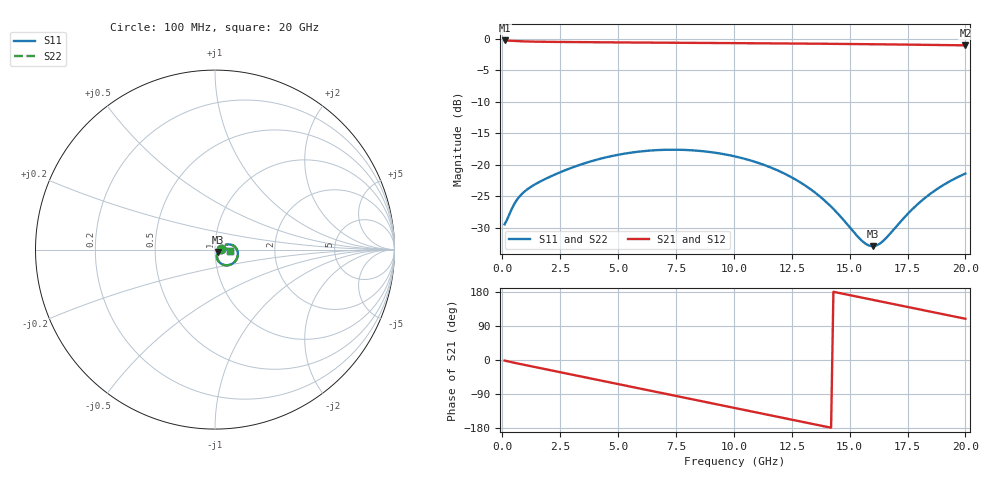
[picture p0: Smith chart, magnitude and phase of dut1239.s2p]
! Touchstone file exported from HFSS 2026.1.0
!  File:  C:/ffzhzh/LocalFiles/Ansys_Project_Files/temp_train_TSV_RDL_1239_1783323843_5512.aedt
!  Generated:  03:53:17 PM Jul  6, 2026
!  Design:  TSV_RDL
!  Project:  temp_train_TSV_RDL_1239_1783323843_5512
! Variables:
!  h_bsmrdl = 2um
!  h_ox = 20um
!  h_rdl = 5um
!  h_sub = 52.4um
!  h_tmrdl = 2.04um
!  h_tsv = 52.4um
!  h_via = 3um
!  l_bsmrdl = 239.11um
!  l_sub = 4342.06um
!  l_tmrdl = 764.97um
!  m_sub = 200um
!  pitch = 32.14um
!  r_tsv = 2.07um
!  s_tmrdl = 10um
!  w_bsmrdl = 26.44um
!  w_sub = 500um
!  w_tmrdl = 28.51um
!  x_tsv_center1 = 779.225um
!  x_tsv_center2 = 1044.775um
!  x_tsv_center3 = 1838.255um
!  x_tsv_center4 = 2103.805um
!  x_tsv_center5 = 2897.285um
!  x_tsv_center6 = 3162.835um
# GHz S MA R 50.000000
! Terminal data exported
! Port[1] = TM_RDL1_1_T1
! Port[2] = TM_RDL5_1_T1
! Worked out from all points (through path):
!   200 points, 100 MHz to 20 GHz, reference 50 ohm
!   highest |S21| = -0.29 dB at 100 MHz (marker M1); lowest = -1.1 dB at 20 GHz (marker M2)
!   group delay of S21, straight-line fit = 34.8 ps
!   lowest |S11| = -32.9 dB at 16 GHz (marker M3), VSWR 1.05, Z = 51.9 - j1.33 ohm
!   |S11| at or under -10 dB: start of sweep to end of sweep
!   |S22| runs from -33.0 to -17.6 dB; largest |S21 - S12| = 1.6e-14
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0.1  0.03376 9.3  0.9668 -1.5  0.9668 -1.5  0.03376 9.3
! Gamma 0 0 0 0
! Port Impedance 50 0 50 0
0.6  0.05178 25.2  0.9564 -8.4  0.9564 -8.4  0.05178 25.2
1  0.06233 24.4  0.9497 -13.4  0.9497 -13.4  0.06232 24.4
2.2  0.08272 20.5  0.9418 -28.4  0.9418 -28.4  0.08272 20.5
3.5  0.1022 13.5  0.9374 -44.7  0.9374 -44.7  0.1022 13.5
5.2  0.122 0.1  0.9323 -66.0  0.9323 -66.0  0.122 0.0
6  0.1279 -7.3  0.9301 -76.0  0.9301 -76.0  0.1279 -7.3
6.8  0.1312 -15.0  0.9281 -86.0  0.9281 -86.0  0.1312 -15.0
7.6  0.1318 -22.8  0.9262 -96.0  0.9262 -96.0  0.1318 -22.9
8.4  0.1296 -30.8  0.9244 -106.1  0.9244 -106.1  0.1296 -30.9
9.2  0.1247 -38.8  0.9227 -116.1  0.9227 -116.1  0.1247 -38.9
10.1  0.1161 -47.7  0.9207 -127.3  0.9207 -127.3  0.1161 -47.8
11.8  0.09193 -63.5  0.9167 -148.7  0.9167 -148.7  0.09197 -63.6
13.4  0.0624 -74.3  0.9121 -168.7  0.9121 -168.7  0.0624 -74.5
14.7  0.03728 -72.7  0.9077 175.0  0.9077 175.0  0.03719 -73.1
15.5  0.02535 -55.6  0.9046 164.9  0.9046 164.9  0.02515 -56.0
16  0.0227 -34.3  0.9026 158.7  0.9026 158.7  0.02243 -34.4
16.3  0.02376 -20.8  0.9013 154.9  0.9013 154.9  0.02349 -20.8
16.7  0.02784 -7.1  0.8996 149.9  0.8996 149.9  0.02758 -6.9
17.6  0.04255 5.3  0.8956 138.7  0.8956 138.7  0.04237 5.6
18.3  0.05554 5.8  0.8924 130.0  0.8924 130.0  0.0554 6.0
20  0.08533 -3.9  0.8846 108.8  0.8846 108.8  0.08528 -3.7
